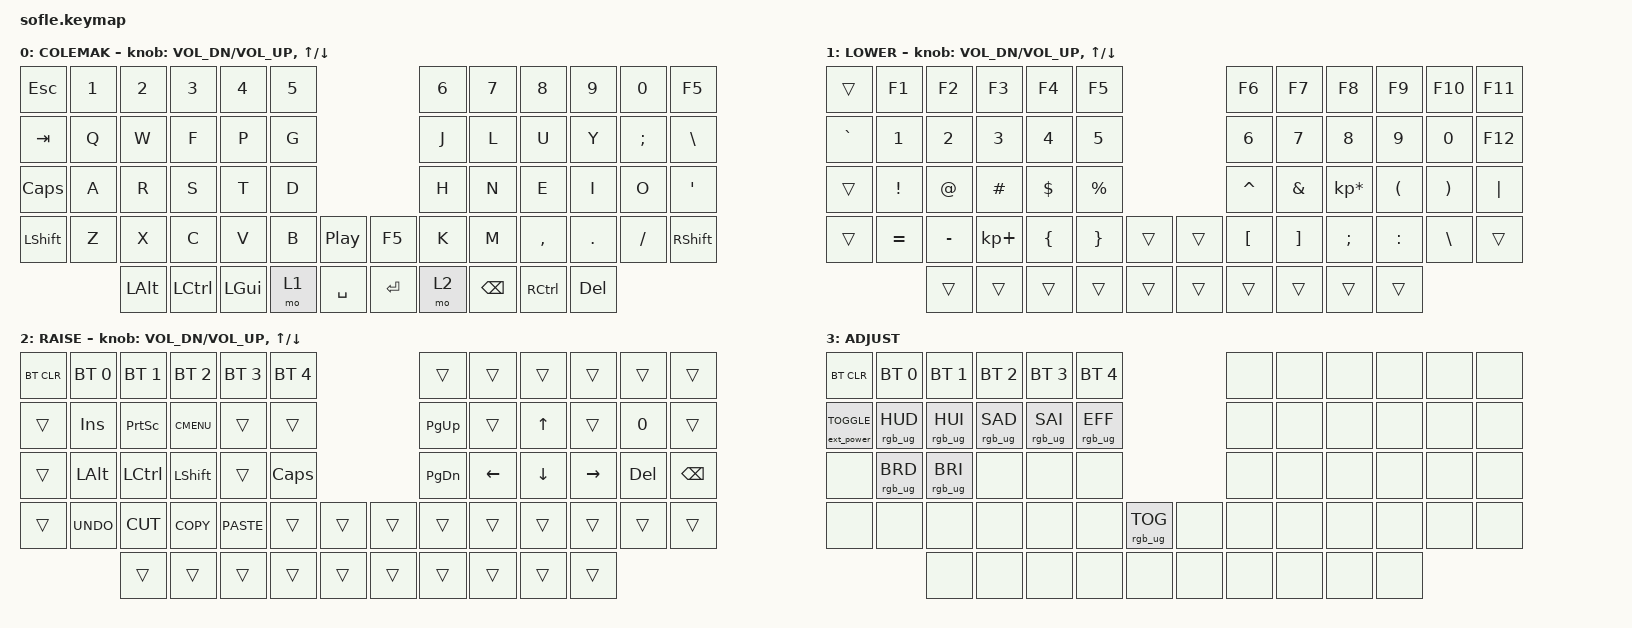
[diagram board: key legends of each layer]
/*
 * Copyright (c) 2020 The ZMK Contributors
 *
 * SPDX-License-Identifier: MIT
 */

#include <behaviors.dtsi>
#include <dt-bindings/zmk/keys.h>
#include <dt-bindings/zmk/bt.h>
#include <dt-bindings/zmk/rgb.h>
#include <dt-bindings/zmk/ext_power.h>

#define BASE 0
#define LOWER 1
#define RAISE 2
#define ADJUST 3

/ {

   // Activate ADJUST layer by pressing raise and lower
    conditional_layers {
        compatible = "zmk,conditional-layers";
        adjust_layer {
            if-layers = <LOWER RAISE>;
            then-layer = <ADJUST>;
        };
    };

    keymap {
        compatible = "zmk,keymap";

        default_layer {
            label = " COLEMAK";
// ------------------------------------------------------------------------------------------------------------
// |  ESC  |  1  |  2  |  3   |  4   |  5   |                   |  6   |   7   |   8   |  9   |   0   |   F5  |
// |  TAB  |  Q  |  W  |  F   |  P   |  G   |                   |  J   |   L   |   U   |  Y   |   ;   |   \   |
// | CAPS  |  A  |  R  |  S   |  T   |  D   |                   |  H   |   N   |   E   |  I   |   O   |   '   |
// | SHIFT |  Z  |  X  |  C   |  V   |  B   |  C_PP  |  |  F5   |  K   |   M   |   ,   |  .   |   /   | SHIFT |
//               |ALT | CTRL  | LGUI | LOWER|  SPACE |  | ENTER | RAISE|  BSPC |  CTRL | DEL  |
            bindings = <
&kp ESC    &kp N1  &kp N2     &kp N3     &kp N4    &kp N5                          &kp N6  &kp N7     &kp N8     &kp N9   &kp N0    &kp F5
&kp TAB    &kp Q   &kp W      &kp F      &kp P     &kp G                           &kp J   &kp L      &kp U      &kp Y    &kp SEMI  &kp BSLH
&kp CAPS   &kp A   &kp R      &kp S      &kp T     &kp D                           &kp H   &kp N      &kp E      &kp I    &kp O     &kp SQT
&kp LSHFT  &kp Z   &kp X      &kp C      &kp V     &kp B   &kp C_PP    &kp F5      &kp K   &kp M      &kp COMMA  &kp DOT  &kp FSLH  &kp RSHFT
                   &kp LALT   &kp LCTRL  &kp LGUI  &mo 1   &kp SPACE   &kp ENTER   &mo 2   &kp BSPC   &kp RCTRL  &kp DEL
            >;

            sensor-bindings = <&inc_dec_kp C_VOL_DN C_VOL_UP &inc_dec_kp UP DOWN>;
        };

        lower_layer {
          label = " LOWER";
// TODO: Some binds are waiting for shifted keycode support.
// ------------------------------------------------------------------------------------------------------------
// |       |  F1 |  F2 |  F3  |  F4  |  F5  |                   |  F6  |  F7   |  F8   |  F9  |  F10  |  F11  |
// | `     |   1 |   2 |   3  |   4  |   5  |                   |   6  |   7   |   8   |   9  |    0  |  F12  |
// |       |  !  |  @  |  #   |  $   |  %   |                   |  ^   |  &    |  *    |  (   |   )   |   |   |
// |       |  =  |  -  |  +   |  {   |  }   |  C_PP  |  |       |  [   |  ]    |  ;    |  :   |   \   |       |
//               |     |      |      |      |        |  |       |      |       |       |      |
            bindings = <
&trans    &kp F1    &kp F2    &kp F3      &kp F4    &kp F5                    &kp F6    &kp F7   &kp F8          &kp F9    &kp F10   &kp F11
&kp GRAVE &kp N1    &kp N2    &kp N3      &kp N4    &kp N5                    &kp N6    &kp N7   &kp N8          &kp N9    &kp N0    &kp F12
&trans    &kp EXCL  &kp AT    &kp HASH    &kp DLLR  &kp PRCNT                 &kp CARET &kp AMPS &kp KP_MULTIPLY &kp LPAR  &kp RPAR  &kp PIPE
&trans    &kp EQUAL &kp MINUS &kp KP_PLUS &kp LBRC  &kp RBRC  &trans   &trans &kp LBKT  &kp RBKT &kp SEMI        &kp COLON &kp BSLH  &trans
                    &trans    &trans      &trans    &trans    &trans   &trans &trans    &trans   &trans          &trans
            >;

            sensor-bindings = <&inc_dec_kp C_VOL_DN C_VOL_UP &inc_dec_kp UP DOWN>;
        };

        raise_layer {
         label = " RAISE";
// ------------------------------------------------------------------------------------------------------------
// |BTCLR| BT1  | BT2  |  BT3  |  BT4  |  BT5 |                |      |      |       |      |       |       |
// |     | INS  | PSCR | GUI   |       |      |                | PGUP |      |   ^   |      |       |       |
// |     | ALT  | CTRL | SHIFT |       | CAPS |                | PGDN |   <- |   v   |  ->  |  DEL  | BKSPC |
// |     | UNDO | CUT  | COPY  | PASTE |      |      |  |      |      |      |       |      |       |       |
//              |      |       |       |      |      |  |      |      |      |       |      |
            bindings = <
&bt BT_CLR &bt BT_SEL 0 &bt BT_SEL 1 &bt BT_SEL 2 &bt BT_SEL 3 &bt BT_SEL 4             &trans    &trans    &trans   &trans    &trans  &trans
&trans     &kp INS      &kp PSCRN    &kp K_CMENU  &trans       &trans                   &kp PG_UP &trans    &kp UP   &trans    &kp N0  &trans
&trans     &kp LALT     &kp LCTRL    &kp LSHFT    &trans       &kp CLCK                 &kp PG_DN &kp LEFT  &kp DOWN &kp RIGHT &kp DEL &kp BSPC
&trans     &kp K_UNDO   &kp K_CUT    &kp K_COPY   &kp K_PASTE  &trans  &trans   &trans  &trans    &trans    &trans   &trans    &trans  &trans
                        &trans       &trans       &trans       &trans  &trans   &trans  &trans    &trans    &trans   &trans
            >;

            sensor-bindings = <&inc_dec_kp C_VOL_DN C_VOL_UP &inc_dec_kp UP DOWN>;
        };

// ------------------------------------------------------------------------------------------------------------
// |BTCLR | BT1   | BT2   |  BT3  |  BT4  |  BT5  |                |      |      |       |      |       |       |
// |EXTPWR|RGB_HUD|RGB_HUI|RGB_SAD|RGB_SAI|RGB_EFF|                |      |      |       |      |       |       |
// |      |RGB_BRD|RGB_BRI|       |       |       |                |      |      |       |      |       |       |
// |      |       |       |       |       |       |RGB_TOG| |      |      |      |       |      |       |       |
//                |       |       |       |       |       | |      |      |      |       |      |

        Adjust_layer {
            label = " ADJUST";
        bindings = <
&bt BT_CLR                      &bt BT_SEL 0    &bt BT_SEL 1    &bt BT_SEL 2    &bt BT_SEL 3    &bt BT_SEL 4                                    &none &none &none &none &none &none
&ext_power EXT_POWER_TOGGLE_CMD &rgb_ug RGB_HUD &rgb_ug RGB_HUI &rgb_ug RGB_SAD &rgb_ug RGB_SAI &rgb_ug RGB_EFF                                 &none &none &none &none &none &none
&none                           &rgb_ug RGB_BRD &rgb_ug RGB_BRI &none           &none           &none                                           &none &none &none &none &none &none
&none                           &none           &none           &none           &none           &none               &rgb_ug RGB_TOG  &none      &none &none &none &none &none &none
                                                &none           &none           &none           &none               &none            &none      &none &none &none &none
        >;
        };

    };
};
